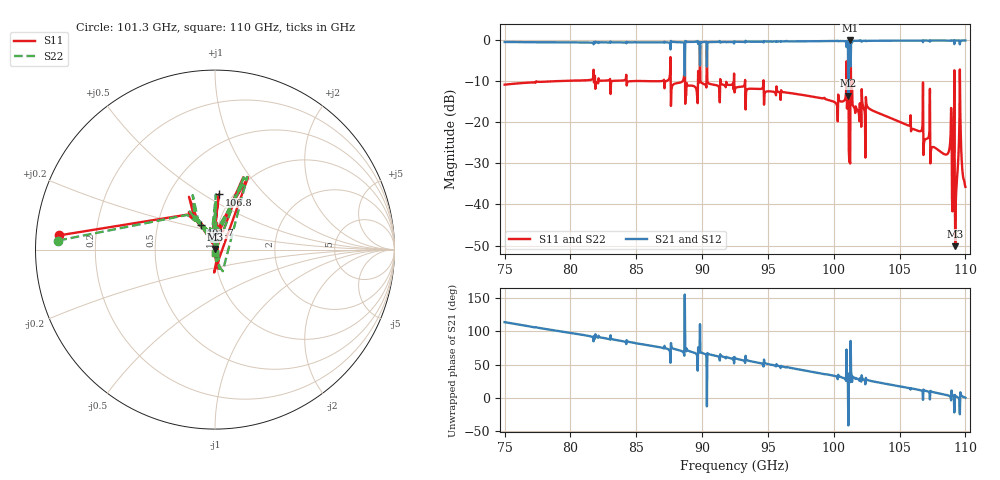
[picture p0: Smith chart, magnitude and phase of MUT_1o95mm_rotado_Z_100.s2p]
! TOUCHSTONE file generated by CST MICROWAVE STUDIO
! Date and time: Fri Feb 16 12:03:47 2024
! Project name: material_rotado.cst
! Parameters = {angX=1; angY=0.75}
! Header version: 2018
! Port assignment regex: !\s*Touchstone port\s*([0-9]+)\s*=\s*(CST MWS port|CST DS port)\s*([0-9]+|Zmin|Zmax)\s*\(\"(.*)\"\)(\s*mode\s*([0-9]+))?.*
! Touchstone port assignment:
! Touchstone port 1 = CST MWS port 1 ("")
! Touchstone port 2 = CST MWS port 2 ("")
# GHz S MA R 376.7
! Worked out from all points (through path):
!   1001 points, 75 GHz to 110 GHz, reference 376.7 ohm
!   highest |S21| = 0.00 dB at 101.2 GHz (marker M1); lowest = -13.4 dB at 101.1 GHz (marker M2)
!   lowest |S11| = -50.2 dB at 109.2 GHz (marker M3), VSWR 1.01, Z = 376 + j2.31 ohm
!   |S11| at or under -10 dB: start of sweep to 77.38 GHz; 94.67 GHz to 100.9 GHz (6.276 GHz wide, 6.42 % of centre); 101.4 GHz to 109.2 GHz (7.763 GHz wide, 7.37 % of centre)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
!   |S22| runs from -50.1 to -0.2 dB; largest |S21 - S12| = 0
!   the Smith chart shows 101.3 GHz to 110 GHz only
!   S11 on the Smith chart (normalised r, x): 101.3 GHz: 0.07, +0.04; 101.7 GHz: 0.82, +0.23; 106.8 GHz: 0.86, +0.59; 110 GHz: 1.00, -0.03
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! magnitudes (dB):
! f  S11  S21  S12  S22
! 75 GHz  -10.8  -0.4  -0.4  -10.8
! 80.84 GHz  -9.8  -0.5  -0.5  -9.8
! 86.69 GHz  -9.9  -0.5  -0.5  -9.9
! 92.5 GHz  -12.0  -0.3  -0.3  -12.0
! 98.34 GHz  -13.7  -0.2  -0.2  -13.7
! 100.1 GHz  -15.2  -0.1  -0.1  -15.2
! 100.9 GHz  -12.7  -0.2  -0.2  -12.7
! 101.1 GHz  -0.2  -13.4  -13.4  -0.2
! 101.2 GHz  -29.2  0.0  0.0  -29.4
! 101.3 GHz  -1.2  -6.3  -6.3  -1.2
! 101.5 GHz  -15.9  -0.1  -0.1  -15.9
! 101.7 GHz  -16.1  -0.1  -0.1  -16.1
! 104.2 GHz  -18.7  -0.1  -0.1  -18.7
! 106.8 GHz  -10.2  -0.4  -0.4  -10.2
! 108.4 GHz  -27.7  0.0  0.0  -27.7
! 108.8 GHz  -26.6  0.0  0.0  -26.6
! 109.2 GHz  -7.3  -0.9  -0.9  -7.3
! 109.2 GHz  -50.2  0.0  0.0  -50.1
! 109.4 GHz  -33.4  0.0  0.0  -33.4
! 109.5 GHz  -27.9  0.0  0.0  -27.9
! 109.6 GHz  -17.9  -0.1  -0.1  -17.9
! 110 GHz  -35.7  0.0  0.0  -35.7
